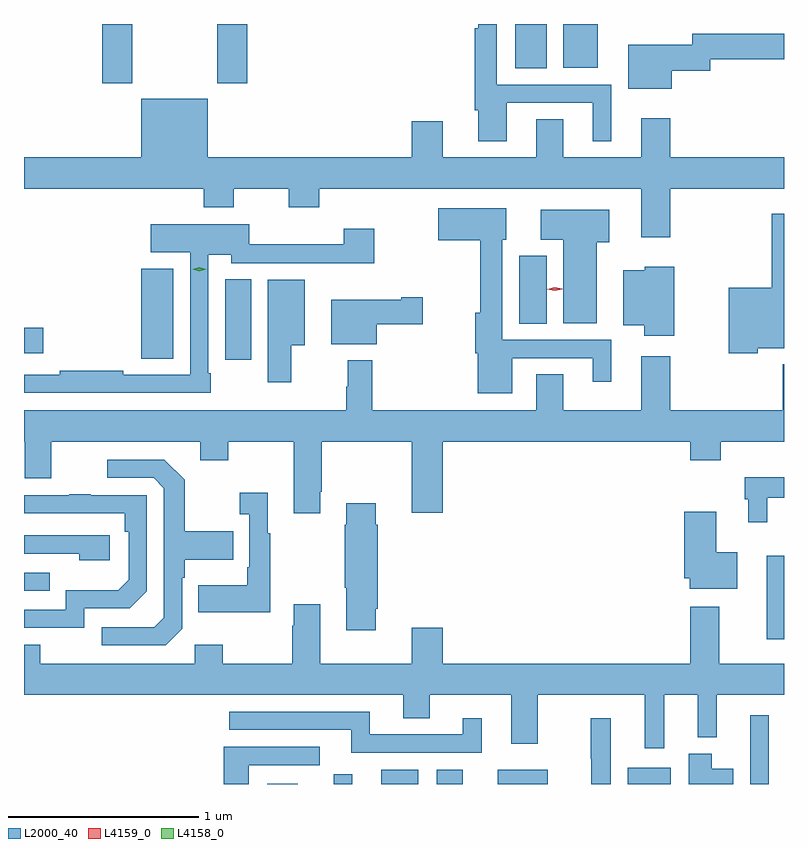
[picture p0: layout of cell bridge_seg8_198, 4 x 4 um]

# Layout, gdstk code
import gdstk
lib = gdstk.Library(unit=1e-6, precision=1e-09)
def R(c, l, rs):  # rectangles x0, y0, x1, y1
    for r in rs: c.add(gdstk.rectangle(r[:2], r[2:], *l))
def P(c, l, *ps):  # polygons
    for p in ps: c.add(gdstk.Polygon(p, *l))
L2000_40 = (2000, 40)
L4158_0 = (4158, 0)
L4159_0 = (4159, 0)

bridge_seg8_198 = lib.new_cell('bridge_seg8_198')
R(bridge_seg8_198, L2000_40, [(248.165,1106.706,248.326,1106.707), (248.513,1106.706,248.611,1106.758), (248.765,1106.706,248.959,1106.782), (249.056,1106.706,249.193,1106.782), (249.377,1106.706,249.64,1106.782), (250.061,1106.706,250.288,1106.791), (250.707,1106.706,250.804,1107.067), (250.793,1107.468,250.884,1107.907), (246.884,1107.723,247.019,1107.819), (247.943,1108.938,248.08,1109.363), (247.502,1108.945,247.669,1109.419), (246.884,1108.973,246.985,1109.108), (249.491,1109.128,249.634,1109.485), (247.295,1110.393,247.455,1110.706), (247.9,1110.393,248.06,1110.706), (249.47,1110.472,249.634,1110.706), (249.722,1110.476,249.904,1110.706)])
P(bridge_seg8_198, L2000_40, [(249.424,1110.291),(249.878,1110.291),(249.878,1110.09),(249.976,1110.09),(249.976,1110.387),(249.372,1110.387),(249.372,1110.706),(249.275,1110.706),(249.275,1110.684),(249.256,1110.684),(249.256,1110.252),(249.275,1110.252),(249.275,1110.09),(249.424,1110.09)],
  [(250.294,1110.459),(250.497,1110.459),(250.497,1110.52),(250.884,1110.52),(250.884,1110.656),(250.401,1110.656),(250.401,1110.598),(250.064,1110.598),(250.064,1110.365),(250.294,1110.365)],
  [(250.286,1109.84),(250.884,1109.84),(250.884,1110.004),(250.286,1110.004),(250.286,1110.211),(250.133,1110.211),(250.133,1110.004),(249.721,1110.004),(249.721,1110.206),(249.581,1110.206),(249.581,1110.004),(249.088,1110.004),(249.088,1110.193),(248.924,1110.193),(248.924,1110.004),(247.852,1110.004),(247.852,1110.313),(247.502,1110.313),(247.502,1110.004),(246.884,1110.004),(246.884,1109.84),(247.829,1109.84),(247.829,1109.741),(247.989,1109.741),(247.989,1109.84),(248.278,1109.84),(248.278,1109.741),(248.438,1109.741),(248.438,1109.84),(250.133,1109.84),(250.133,1109.583),(250.286,1109.583)],
  [(249.454,1108.947),(249.878,1108.947),(249.878,1108.824),(249.976,1108.824),(249.976,1109.043),(249.402,1109.043),(249.402,1109.571),(249.421,1109.571),(249.421,1109.737),(249.063,1109.737),(249.063,1109.567),(249.286,1109.567),(249.286,1109.185),(249.26,1109.185),(249.26,1108.974),(249.272,1108.974),(249.272,1108.763),(249.454,1108.763)],
  [(249.898,1109.558),(249.964,1109.558),(249.964,1109.728),(249.603,1109.728),(249.603,1109.57),(249.722,1109.57),(249.722,1109.132),(249.898,1109.132)],
  [(250.746,1109),(250.884,1109),(250.884,1109.707),(250.82,1109.707),(250.82,1109.317),(250.592,1109.317),(250.592,1108.973),(250.746,1108.973)],
  [(247.867,1108.867),(247.854,1108.867),(247.854,1109.492),(247.974,1109.492),(247.974,1109.448),(248.483,1109.448),(248.483,1109.447),(248.727,1109.447),(248.727,1109.629),(248.567,1109.629),(248.567,1109.546),(248.07,1109.546),(248.07,1109.653),(247.551,1109.653),(247.551,1109.504),(247.758,1109.504),(247.758,1108.86),(247.406,1108.86),(247.406,1108.88),(247.072,1108.88),(247.072,1108.86),(246.884,1108.86),(246.884,1108.764),(247.867,1108.764)],
  [(250.306,1109.428),(250.152,1109.428),(250.152,1109.41),(250.037,1109.41),(250.037,1109.12),(250.148,1109.12),(250.148,1109.066),(250.306,1109.066)],
  [(248.29,1109.015),(248.362,1109.015),(248.362,1109.359),(248.168,1109.359),(248.168,1108.821),(248.29,1108.821)],
  [(248.74,1109.125),(248.983,1109.125),(248.983,1109.267),(248.87,1109.267),(248.87,1109.254),(248.501,1109.254),(248.501,1109.021),(248.74,1109.021)],
  [(248.443,1108.243),(248.451,1108.243),(248.451,1108.508),(248.924,1108.508),(248.924,1108.134),(249.088,1108.134),(249.088,1108.508),(250.391,1108.508),(250.391,1108.409),(250.551,1108.409),(250.551,1108.508),(250.884,1108.508),(250.884,1108.915),(250.877,1108.915),(250.877,1108.672),(250.286,1108.672),(250.286,1108.957),(250.133,1108.957),(250.133,1108.672),(249.721,1108.672),(249.721,1108.862),(249.581,1108.862),(249.581,1108.672),(248.717,1108.672),(248.717,1108.936),(248.589,1108.936),(248.589,1108.796),(248.581,1108.796),(248.581,1108.672),(246.884,1108.672),(246.884,1108.508),(246.887,1108.508),(246.887,1108.314),(247.027,1108.314),(247.027,1108.508),(247.811,1108.508),(247.811,1108.409),(247.959,1108.409),(247.959,1108.508),(248.303,1108.508),(248.303,1108.131),(248.443,1108.131)],
  [(247.716,1107.522),(247.716,1107.791),(247.729,1107.791),(247.729,1107.887),(247.985,1107.887),(247.985,1108.035),(247.729,1108.035),(247.729,1108.307),(247.623,1108.413),(247.323,1108.413),(247.323,1108.317),(247.566,1108.317),(247.62,1108.263),(247.62,1107.582),(247.569,1107.531),(247.293,1107.531),(247.293,1107.435),(247.629,1107.435)],
  [(250.797,1108.212),(250.884,1108.212),(250.884,1108.32),(250.678,1108.32),(250.678,1108.206),(250.697,1108.206),(250.697,1108.083),(250.797,1108.083)],
  [(248.179,1108.027),(248.167,1108.027),(248.167,1108.24),(248.019,1108.24),(248.019,1108.127),(248.07,1108.127),(248.07,1107.847),(248.058,1107.847),(248.058,1107.751),(247.801,1107.751),(247.801,1107.611),(248.179,1107.611)],
  [(247.2,1107.63),(247.44,1107.63),(247.53,1107.72),(247.53,1108.227),(247.235,1108.227),(247.235,1108.232),(247.123,1108.232),(247.123,1108.227),(246.884,1108.227),(246.884,1108.131),(247.414,1108.131),(247.414,1108.034),(247.434,1108.034),(247.434,1107.78),(247.381,1107.727),(247.104,1107.727),(247.104,1107.624),(246.884,1107.624),(246.884,1107.528),(247.2,1107.528)],
  [(248.734,1107.628),(248.747,1107.628),(248.747,1108.07),(248.734,1108.07),(248.734,1108.183),(248.579,1108.183),(248.579,1108.07),(248.572,1108.07),(248.572,1107.739),(248.579,1107.739),(248.579,1107.516),(248.734,1107.516)],
  [(250.639,1107.925),(250.528,1107.925),(250.528,1108.138),(250.358,1108.138),(250.358,1107.789),(250.388,1107.789),(250.388,1107.734),(250.639,1107.734)],
  [(247.336,1108.014),(246.884,1108.014),(246.884,1107.918),(247.175,1107.918),(247.175,1107.884),(247.336,1107.884)],
  [(250.255,1107.176),(250.43,1107.176),(250.43,1106.951),(250.529,1106.951),(250.529,1107.176),(250.884,1107.176),(250.884,1107.34),(250.543,1107.34),(250.543,1107.64),(250.391,1107.64),(250.391,1107.34),(249.088,1107.34),(249.088,1107.529),(248.924,1107.529),(248.924,1107.34),(248.443,1107.34),(248.443,1107.652),(248.303,1107.652),(248.303,1107.539),(248.296,1107.539),(248.296,1107.34),(247.929,1107.34),(247.929,1107.439),(247.782,1107.439),(247.782,1107.34),(246.969,1107.34),(246.969,1107.439),(246.884,1107.439),(246.884,1107.176),(248.879,1107.176),(248.879,1107.052),(249.019,1107.052),(249.019,1107.176),(249.449,1107.176),(249.449,1106.919),(249.589,1106.919),(249.589,1107.176),(250.151,1107.176),(250.151,1106.895),(250.255,1106.895)],
  [(249.292,1107.052),(249.194,1107.052),(249.194,1106.967),(248.704,1106.967),(248.704,1107.087),(247.965,1107.087),(247.965,1106.991),(248.606,1106.991),(248.606,1106.871),(249.292,1106.871)],
  [(249.973,1107.052),(249.867,1107.052),(249.867,1106.839),(249.869,1106.839),(249.869,1106.706),(249.973,1106.706)],
  [(248.068,1106.805),(248.44,1106.805),(248.44,1106.901),(247.934,1106.901),(247.934,1106.706),(248.068,1106.706)],
  [(250.618,1106.785),(250.504,1106.785),(250.504,1106.866),(250.382,1106.866),(250.382,1106.706),(250.618,1106.706)])
P(bridge_seg8_198, L4158_0, [(247.807,1109.405),(247.772,1109.415),(247.772,1109.415),(247.772,1109.416),(247.807,1109.425),(247.842,1109.414),(247.842,1109.414),(247.842,1109.414)])
P(bridge_seg8_198, L4159_0, [(249.677,1109.301),(249.637,1109.311),(249.637,1109.311),(249.637,1109.311),(249.677,1109.321),(249.717,1109.312),(249.718,1109.311),(249.717,1109.311)])

lib.write_gds('bridge_seg8_198.gds')
